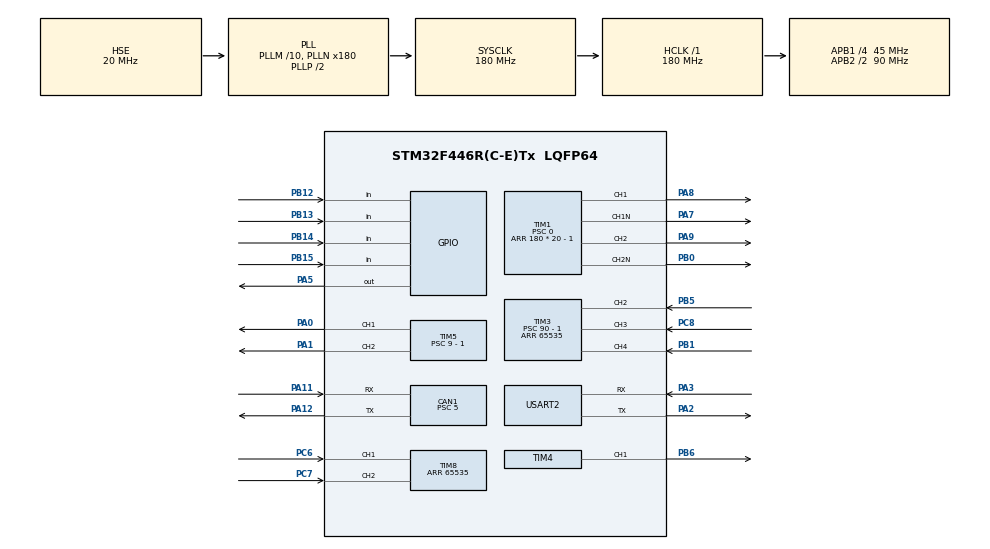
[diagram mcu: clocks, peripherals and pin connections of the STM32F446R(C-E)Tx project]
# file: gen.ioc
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CAN1.ABOM=ENABLE
CAN1.AWUM=ENABLE
CAN1.BS1=CAN_BS1_13TQ
CAN1.BS2=CAN_BS2_2TQ
CAN1.CalculateTimeQuantum=111.11111111111111
CAN1.NART=ENABLE
CAN1.Prescaler=5
Dma.Request0=USART2_RX
Dma.Request1=USART2_TX
Dma.USART2_RX.0.Direction=DMA_PERIPH_TO_MEMORY
Dma.USART2_RX.0.FIFOMode=DMA_FIFOMODE_DISABLE
Dma.USART2_RX.0.Instance=DMA1_Stream5
Dma.USART2_RX.0.MemDataAlignment=DMA_MDATAALIGN_BYTE
Dma.USART2_RX.0.MemInc=DMA_MINC_ENABLE
Dma.USART2_RX.0.Mode=DMA_CIRCULAR
Dma.USART2_RX.0.PeriphDataAlignment=DMA_PDATAALIGN_BYTE
Dma.USART2_RX.0.PeriphInc=DMA_PINC_DISABLE
Dma.USART2_RX.0.Priority=DMA_PRIORITY_LOW
Dma.USART2_TX.1.Direction=DMA_MEMORY_TO_PERIPH
Dma.USART2_TX.1.FIFOMode=DMA_FIFOMODE_DISABLE
Dma.USART2_TX.1.Instance=DMA1_Stream6
Dma.USART2_TX.1.MemDataAlignment=DMA_MDATAALIGN_BYTE
Dma.USART2_TX.1.MemInc=DMA_MINC_ENABLE
Dma.USART2_TX.1.Mode=DMA_NORMAL
Dma.USART2_TX.1.PeriphDataAlignment=DMA_PDATAALIGN_BYTE
Dma.USART2_TX.1.PeriphInc=DMA_PINC_DISABLE
Dma.USART2_TX.1.Priority=DMA_PRIORITY_LOW
FREERTOS.INCLUDE_vTaskDelayUntil=1
FREERTOS.MEMORY_ALLOCATION=1
FREERTOS.Tasks01=RemoteControlle,0,1024,StartRemoteControllerTask,Default,NULL,Static,RemoteControllerTaskBuffer,RemoteControllerTaskControlBlock;ControlTask,2,1024,StartControlTask,Default,NULL,Static,ControlTaskBuffer,ControlTaskControlBlock;DebugTask,-2,1024,StartDebugTask,Default,NULL,Static,DebugTaskBuffer,DebugTaskControlBlock
FREERTOS.configCHECK_FOR_STACK_OVERFLOW=1
FREERTOS.configUSE_TRACE_FACILITY=1
Mcu.Family=STM32F4
Mcu.Name=STM32F446R(C-E)Tx
Mcu.Package=LQFP64
NVIC.CAN1_RX0_IRQn=true\:5\:0\:false\:false\:true\:true\:true\:true
NVIC.CAN1_TX_IRQn=true\:5\:0\:false\:false\:true\:true\:true\:true
NVIC.DMA1_Stream5_IRQn=true\:5\:0\:false\:false\:true\:true\:false\:true
NVIC.DMA1_Stream6_IRQn=true\:5\:0\:false\:false\:true\:true\:false\:true
NVIC.PriorityGroup=NVIC_PRIORITYGROUP_4
NVIC.TIM2_IRQn=true\:0\:0\:false\:false\:true\:false\:false\:true
NVIC.TIM3_IRQn=true\:5\:0\:false\:false\:true\:true\:true\:true
NVIC.TIM7_IRQn=true\:5\:0\:false\:false\:true\:true\:true\:true
NVIC.TimeBase=TIM2_IRQn
NVIC.TimeBaseIP=TIM2
NVIC.USART2_IRQn=true\:5\:0\:false\:false\:true\:true\:true\:true
PA0-WKUP.Signal=S_TIM5_CH1
PA1.Signal=S_TIM5_CH2
PA11.Mode=Master
PA11.Signal=CAN1_RX
PA12.Mode=Master
PA12.Signal=CAN1_TX
PA13.Signal=SYS_JTMS-SWDIO
PA14.Signal=SYS_JTCK-SWCLK
PA2.Mode=Asynchronous
PA2.Signal=USART2_TX
PA3.Mode=Asynchronous
PA3.Signal=USART2_RX
PA5.Signal=GPIO_Output
PA7.Mode=PWM Generation1 CH1 CH1N
PA7.Signal=TIM1_CH1N
PA8.Signal=S_TIM1_CH1
PA9.Signal=S_TIM1_CH2
PB0.Mode=PWM Generation2 CH2 CH2N
PB0.Signal=TIM1_CH2N
PB1.Signal=S_TIM3_CH4
PB12.Signal=GPIO_Input
PB13.Signal=GPIO_Input
PB14.Signal=GPIO_Input
PB15.Signal=GPIO_Input
PB5.Signal=S_TIM3_CH2
PB6.Signal=S_TIM4_CH1
PC6.Signal=S_TIM8_CH1
PC7.Signal=S_TIM8_CH2
PC8.Signal=S_TIM3_CH3
PH0-OSC_IN.Mode=HSE-External-Oscillator
PH0-OSC_IN.Signal=RCC_OSC_IN
PH1-OSC_OUT.Mode=HSE-External-Oscillator
PH1-OSC_OUT.Signal=RCC_OSC_OUT
ProjectManager.HeapSize=0x200
ProjectManager.StackSize=0x400
ProjectManager.TargetToolchain=SW4STM32
RCC.AHBFreq_Value=180000000
RCC.APB1CLKDivider=RCC_HCLK_DIV4
RCC.APB1Freq_Value=45000000
RCC.APB1TimFreq_Value=90000000
RCC.APB2CLKDivider=RCC_HCLK_DIV2
RCC.APB2Freq_Value=90000000
RCC.APB2TimFreq_Value=180000000
RCC.CortexFreq_Value=180000000
RCC.HCLKFreq_Value=180000000
RCC.HSE_VALUE=20000000
RCC.PLLM=10
RCC.PLLN=180
RCC.PLLSourceVirtual=RCC_PLLSOURCE_HSE
RCC.SYSCLKFreq_VALUE=180000000
RCC.SYSCLKSource=RCC_SYSCLKSOURCE_PLLCLK
RCC.USBFreq_Value=180000000
RCC.VCOOutputFreq_Value=360000000
SH.S_TIM1_CH1.0=TIM1_CH1,PWM Generation1 CH1 CH1N
SH.S_TIM1_CH2.0=TIM1_CH2,PWM Generation2 CH2 CH2N
SH.S_TIM3_CH2.0=TIM3_CH2,Input_Capture2_from_TI2
SH.S_TIM3_CH3.0=TIM3_CH3,Input_Capture3_from_TI3
SH.S_TIM3_CH4.0=TIM3_CH4,Input_Capture4_from_TI4
SH.S_TIM4_CH1.0=TIM4_CH1,PWM Generation1 CH1
SH.S_TIM5_CH1.0=TIM5_CH1,PWM Generation1 CH1
SH.S_TIM5_CH2.0=TIM5_CH2,PWM Generation2 CH2
SH.S_TIM8_CH1.0=TIM8_CH1,Encoder_Interface
SH.S_TIM8_CH2.0=TIM8_CH2,Encoder_Interface
TIM1.Channel-PWM\ Generation1\ CH1\ CH1N=TIM_CHANNEL_1
TIM1.Channel-PWM\ Generation2\ CH2\ CH2N=TIM_CHANNEL_2
TIM1.CounterMode=TIM_COUNTERMODE_CENTERALIGNED1
TIM1.DeadTime=29
TIM1.LockLevel=TIM_LOCKLEVEL_OFF
TIM1.Period=180 * 20 - 1
TIM1.Prescaler=0
TIM3.AutoReloadPreload=TIM_AUTORELOAD_PRELOAD_DISABLE
TIM3.Channel-Input_Capture2_from_TI2=TIM_CHANNEL_2
TIM3.Channel-Input_Capture3_from_TI3=TIM_CHANNEL_3
TIM3.Channel-Input_Capture4_from_TI4=TIM_CHANNEL_4
TIM3.ICPolarity_CH2=TIM_INPUTCHANNELPOLARITY_BOTHEDGE
TIM3.ICPolarity_CH3=TIM_INPUTCHANNELPOLARITY_BOTHEDGE
TIM3.ICPolarity_CH4=TIM_INPUTCHANNELPOLARITY_BOTHEDGE
TIM3.Period=65535
TIM3.Prescaler=90 - 1
TIM4.Channel-PWM\ Generation1\ CH1=TIM_CHANNEL_1
TIM4.Period=20000 - 1
TIM4.Prescaler=90 - 1
TIM5.Channel-PWM\ Generation1\ CH1=TIM_CHANNEL_1
TIM5.Channel-PWM\ Generation2\ CH2=TIM_CHANNEL_2
TIM5.Period=35000 - 1
TIM5.Prescaler=9 - 1
TIM7.Period=500
TIM7.Prescaler=90
TIM8.EncoderMode=TIM_ENCODERMODE_TI12
TIM8.IC1Polarity=TIM_ICPOLARITY_RISING
TIM8.IC2Polarity=TIM_ICPOLARITY_FALLING
TIM8.Period=65535
USART2.VirtualMode=VM_ASYNC
VP_FREERTOS_VS_CMSIS_V1.Mode=CMSIS_V1
VP_SYS_VS_tim2.Mode=TIM2
VP_TIM7_VS_ClockSourceINT.Mode=Enable_Timer
board=gen

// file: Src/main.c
/* USER CODE BEGIN Header */
/**
  ******************************************************************************
  * @file           : main.c
  * @brief          : Main program body
  ******************************************************************************
  * @attention
  *
  * <h2><center>&copy; Copyright (c) 2020 STMicroelectronics.
  * All rights reserved.</center></h2>
  *
  * This software component is licensed by ST under Ultimate Liberty license
  * SLA0044, the "License"; You may not use this file except in compliance with
  * the License. You may obtain a copy of the License at:
  *                             www.st.com/SLA0044
  *
  ******************************************************************************
  */
/* USER CODE END Header */

#include "main.h"
#include "cmsis_os.h"
#include "can.h"
#include "dma.h"
#include "tim.h"
#include "usart.h"
#include "gpio.h"

/* USER CODE BEGIN Includes */
#include <system_init.h>
/* USER CODE END Includes */

void SystemClock_Config(void);
void MX_FREERTOS_Init(void);
/* USER CODE BEGIN PFP */

extern void micro_tim_PeriodElapsedCallback(TIM_HandleTypeDef *htim);

/* USER CODE END PFP */

int main(void)
{

  /* MCU Configuration--------------------------------------------------------*/

  /* Reset of all peripherals, Initializes the Flash interface and the Systick. */
  HAL_Init();

  /* Configure the system clock */
  SystemClock_Config();

  /* USER CODE BEGIN SysInit */
  system_init();
  /* USER CODE END SysInit */

  /* Initialize all configured peripherals */
  MX_GPIO_Init();
  MX_DMA_Init();
  MX_TIM1_Init();
  MX_TIM3_Init();
  MX_TIM4_Init();
  MX_TIM5_Init();
  MX_TIM7_Init();
  MX_TIM8_Init();
  MX_CAN1_Init();
  MX_USART2_UART_Init();
  /* USER CODE BEGIN 2 */
  tim_start();
  can_start();
  /* USER CODE END 2 */

  /* Call init function for freertos objects (in freertos.c) */
  MX_FREERTOS_Init();

  /* Start scheduler */
  osKernelStart();

  /* We should never get here as control is now taken by the scheduler */

  /* Infinite loop */
  while (1)
  {

  }
}

void SystemClock_Config(void)
{
  RCC_OscInitTypeDef RCC_OscInitStruct = {0};
  RCC_ClkInitTypeDef RCC_ClkInitStruct = {0};

  /** Configure the main internal regulator output voltage
  */
  __HAL_RCC_PWR_CLK_ENABLE();
  __HAL_PWR_VOLTAGESCALING_CONFIG(PWR_REGULATOR_VOLTAGE_SCALE1);
  /** Initializes the CPU, AHB and APB busses clocks
  */
  RCC_OscInitStruct.OscillatorType = RCC_OSCILLATORTYPE_HSE;
  RCC_OscInitStruct.HSEState = RCC_HSE_ON;
  RCC_OscInitStruct.PLL.PLLState = RCC_PLL_ON;
  RCC_OscInitStruct.PLL.PLLSource = RCC_PLLSOURCE_HSE;
  RCC_OscInitStruct.PLL.PLLM = 10;
  RCC_OscInitStruct.PLL.PLLN = 180;
  RCC_OscInitStruct.PLL.PLLP = RCC_PLLP_DIV2;
  RCC_OscInitStruct.PLL.PLLQ = 2;
  RCC_OscInitStruct.PLL.PLLR = 2;
  if (HAL_RCC_OscConfig(&RCC_OscInitStruct) != HAL_OK)
  {
    Error_Handler();
  }
  /** Activate the Over-Drive mode
  */
  if (HAL_PWREx_EnableOverDrive() != HAL_OK)
  {
    Error_Handler();
  }
  /** Initializes the CPU, AHB and APB busses clocks
  */
  RCC_ClkInitStruct.ClockType = RCC_CLOCKTYPE_HCLK|RCC_CLOCKTYPE_SYSCLK
                              |RCC_CLOCKTYPE_PCLK1|RCC_CLOCKTYPE_PCLK2;
  RCC_ClkInitStruct.SYSCLKSource = RCC_SYSCLKSOURCE_PLLCLK;
  RCC_ClkInitStruct.AHBCLKDivider = RCC_SYSCLK_DIV1;
  RCC_ClkInitStruct.APB1CLKDivider = RCC_HCLK_DIV4;
  RCC_ClkInitStruct.APB2CLKDivider = RCC_HCLK_DIV2;

  if (HAL_RCC_ClockConfig(&RCC_ClkInitStruct, FLASH_LATENCY_5) != HAL_OK)
  {
    Error_Handler();
  }
}

void HAL_TIM_PeriodElapsedCallback(TIM_HandleTypeDef *htim)
{
  if (htim->Instance == TIM2) {
    HAL_IncTick();
  }
  /* USER CODE BEGIN Callback 1 */
  micro_tim_PeriodElapsedCallback(htim);
  /* USER CODE END Callback 1 */
}

void Error_Handler(void)
{
  __disable_irq();
  while (1) {}
}

/************************ (C) COPYRIGHT STMicroelectronics *****END OF FILE****/

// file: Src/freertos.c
/* USER CODE BEGIN Header */
/**
  ******************************************************************************
  * File Name          : freertos.c
  * Description        : Code for freertos applications
  ******************************************************************************
  * @attention
  *
  * <h2><center>&copy; Copyright (c) 2020 STMicroelectronics.
  * All rights reserved.</center></h2>
  *
  * This software component is licensed by ST under Ultimate Liberty license
  * SLA0044, the "License"; You may not use this file except in compliance with
  * the License. You may obtain a copy of the License at:
  *                             www.st.com/SLA0044
  *
  ******************************************************************************
  */
/* USER CODE END Header */

#include "FreeRTOS.h"
#include "task.h"
#include "main.h"
#include "cmsis_os.h"

osThreadId RemoteControlleHandle;
uint32_t RemoteControllerTaskBuffer[ 1024 ];
osStaticThreadDef_t RemoteControllerTaskControlBlock;
osThreadId ControlTaskHandle;
uint32_t ControlTaskBuffer[ 1024 ];
osStaticThreadDef_t ControlTaskControlBlock;
osThreadId DebugTaskHandle;
uint32_t DebugTaskBuffer[ 1024 ];
osStaticThreadDef_t DebugTaskControlBlock;

/* USER CODE BEGIN FunctionPrototypes */
void runRemoteControllerTask(void);
void runControlTask(void);
void runDebugTask(void);
/* USER CODE END FunctionPrototypes */

void StartRemoteControllerTask(void const * argument);
void StartControlTask(void const * argument);
void StartDebugTask(void const * argument);

void MX_FREERTOS_Init(void); /* (MISRA C 2004 rule 8.1) */

/* GetIdleTaskMemory prototype (linked to static allocation support) */
void vApplicationGetIdleTaskMemory( StaticTask_t **ppxIdleTaskTCBBuffer, StackType_t **ppxIdleTaskStackBuffer, uint32_t *pulIdleTaskStackSize );

/* Hook prototypes */
void vApplicationStackOverflowHook(xTaskHandle xTask, signed char *pcTaskName);

/* USER CODE BEGIN 4 */
__weak void vApplicationStackOverflowHook(xTaskHandle xTask, signed char *pcTaskName)
{
   /* Run time stack overflow checking is performed if
   configCHECK_FOR_STACK_OVERFLOW is defined to 1 or 2. This hook function is
   called if a stack overflow is detected. */
}
/* USER CODE END 4 */

/* USER CODE BEGIN GET_IDLE_TASK_MEMORY */
static StaticTask_t xIdleTaskTCBBuffer;
static StackType_t xIdleStack[configMINIMAL_STACK_SIZE];

void vApplicationGetIdleTaskMemory( StaticTask_t **ppxIdleTaskTCBBuffer, StackType_t **ppxIdleTaskStackBuffer, uint32_t *pulIdleTaskStackSize )
{
  *ppxIdleTaskTCBBuffer = &xIdleTaskTCBBuffer;
  *ppxIdleTaskStackBuffer = &xIdleStack[0];
  *pulIdleTaskStackSize = configMINIMAL_STACK_SIZE;
  /* place for user code */
}
/* USER CODE END GET_IDLE_TASK_MEMORY */

void MX_FREERTOS_Init(void) {

  /* Create the thread(s) */
  /* definition and creation of RemoteControlle */
  osThreadStaticDef(RemoteControlle, StartRemoteControllerTask, osPriorityNormal, 0, 1024, RemoteControllerTaskBuffer, &RemoteControllerTaskControlBlock);
  RemoteControlleHandle = osThreadCreate(osThread(RemoteControlle), NULL);

  /* definition and creation of ControlTask */
  osThreadStaticDef(ControlTask, StartControlTask, osPriorityHigh, 0, 1024, ControlTaskBuffer, &ControlTaskControlBlock);
  ControlTaskHandle = osThreadCreate(osThread(ControlTask), NULL);

  /* definition and creation of DebugTask */
  osThreadStaticDef(DebugTask, StartDebugTask, osPriorityLow, 0, 1024, DebugTaskBuffer, &DebugTaskControlBlock);
  DebugTaskHandle = osThreadCreate(osThread(DebugTask), NULL);

}

void StartRemoteControllerTask(void const * argument)
{

  /* USER CODE BEGIN StartRemoteControllerTask */
  UNUSED(argument);
  runRemoteControllerTask();
  vTaskDelete(NULL);
  /* USER CODE END StartRemoteControllerTask */
}

void StartControlTask(void const * argument)
{
  /* USER CODE BEGIN StartControlTask */
  UNUSED(argument);
  runControlTask();
  vTaskDelete(NULL);
  /* USER CODE END StartControlTask */
}

void StartDebugTask(void const * argument)
{
  /* USER CODE BEGIN StartDebugTask */
  UNUSED(argument);
  runDebugTask();
  vTaskDelete(NULL);
  /* USER CODE END StartDebugTask */
}

/************************ (C) COPYRIGHT STMicroelectronics *****END OF FILE****/
